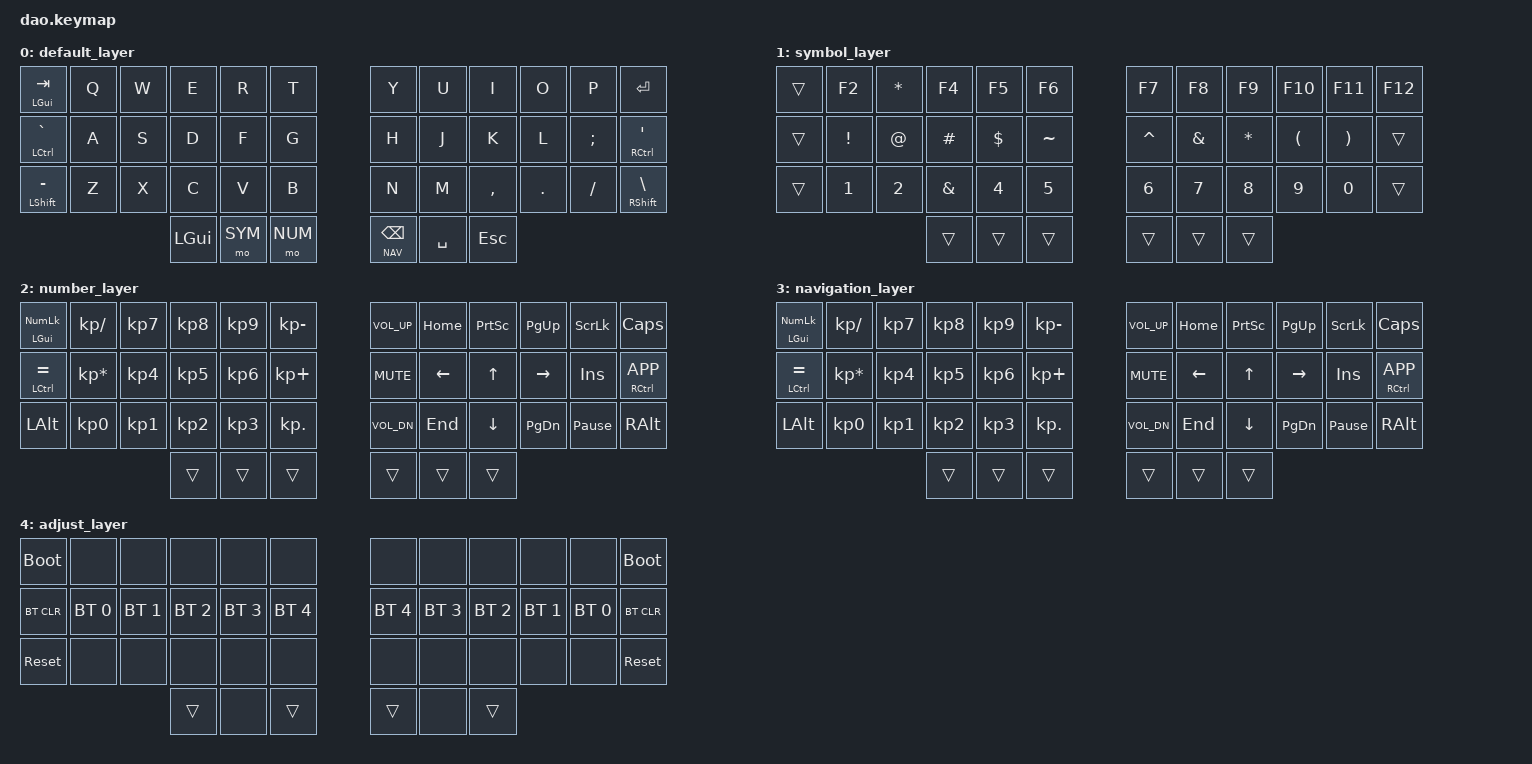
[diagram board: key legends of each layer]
/*
 * Copyright (c) 2021 Rafael Yumagulov
 *
 * SPDX-License-Identifier: MIT
 */

#include <behaviors.dtsi>
#include <dt-bindings/zmk/keys.h>
#include <dt-bindings/zmk/bt.h>

#define DEF 0
#define SYM 1
#define NUM 2
#define NAV 3
#define ADJ 4

&lt { quick_tap_ms = <200>; };
&mt { quick_tap_ms = <200>; };

/ {
    chosen {
        zmk,matrix_transform = &default_transform;
        // zmk,matrix_transform = &extra_keys_transform;
    };
};

/ {
        keymap {
                compatible = "zmk,keymap";

                default_layer {
                        bindings = <
//        ┌─────────────────┬───────┬───────┬──────────┬─────────┬─────────┐   ┌──────────────┬───────────┬───────────┬─────────┬──────────┬────────────────┐
//        │  &mt LGUI TAB   │ &kp Q │ &kp W │  &kp E   │  &kp R  │  &kp T  │   │    &kp Y     │   &kp U   │   &kp I   │  &kp O  │  &kp P   │    &kp RET     │
//        ├─────────────────┼───────┼───────┼──────────┼─────────┼─────────┤   ├──────────────┼───────────┼───────────┼─────────┼──────────┼────────────────┤
//        │ &mt LCTRL GRAVE │ &kp A │ &kp S │  &kp D   │  &kp F  │  &kp G  │   │    &kp H     │   &kp J   │   &kp K   │  &kp L  │ &kp SEMI │ &mt RCTRL SQT  │
//        ├─────────────────┼───────┼───────┼──────────┼─────────┼─────────┤   ├──────────────┼───────────┼───────────┼─────────┼──────────┼────────────────┤
//        │ &mt LSHFT MINUS │ &kp Z │ &kp X │  &kp C   │  &kp V  │  &kp B  │   │    &kp N     │   &kp M   │ &kp COMMA │ &kp DOT │ &kp FSLH │ &mt RSHFT BSLH │
//        └─────────────────┴───────┴───────┼──────────┼─────────┼─────────┤   ├──────────────┼───────────┼───────────┼─────────┴──────────┴────────────────┘
//                                          │ &kp LGUI │ &mo SYM │ &mo NUM │   │ &lt NAV BSPC │ &kp SPACE │  &kp ESC  │                                      
//                                          └──────────┴─────────┴─────────┘   └──────────────┴───────────┴───────────┘                                      
      &mt LGUI TAB      &kp Q   &kp W   &kp E      &kp R     &kp T         &kp Y          &kp U       &kp I       &kp O     &kp P      &kp RET       
      &mt LCTRL GRAVE   &kp A   &kp S   &kp D      &kp F     &kp G         &kp H          &kp J       &kp K       &kp L     &kp SEMI   &mt RCTRL SQT 
      &mt LSHFT MINUS   &kp Z   &kp X   &kp C      &kp V     &kp B         &kp N          &kp M       &kp COMMA   &kp DOT   &kp FSLH   &mt RSHFT BSLH
                                        &kp LGUI   &mo SYM   &mo NUM       &lt NAV BSPC   &kp SPACE   &kp ESC                                        
                        >;
                };

                symbol_layer {
                        bindings = <
//        ┌────────┬──────────┬──────────────┬──────────┬──────────┬───────────┐   ┌───────────┬──────────┬──────────┬──────────┬──────────┬─────────┐
//        │ &trans │  &kp F2  │ &kp ASTERISK │  &kp F4  │  &kp F5  │  &kp F6   │   │  &kp F7   │  &kp F8  │  &kp F9  │ &kp F10  │ &kp F11  │ &kp F12 │
//        ├────────┼──────────┼──────────────┼──────────┼──────────┼───────────┤   ├───────────┼──────────┼──────────┼──────────┼──────────┼─────────┤
//        │ &trans │ &kp EXCL │    &kp AT    │ &kp HASH │ &kp DLLR │ &kp TILDE │   │ &kp CARET │ &kp AMPS │ &kp STAR │ &kp LPAR │ &kp RPAR │ &trans  │
//        ├────────┼──────────┼──────────────┼──────────┼──────────┼───────────┤   ├───────────┼──────────┼──────────┼──────────┼──────────┼─────────┤
//        │ &trans │  &kp N1  │    &kp N2    │ &kp AMPS │  &kp N4  │  &kp N5   │   │  &kp N6   │  &kp N7  │  &kp N8  │  &kp N9  │  &kp N0  │ &trans  │
//        └────────┴──────────┴──────────────┼──────────┼──────────┼───────────┤   ├───────────┼──────────┼──────────┼──────────┴──────────┴─────────┘
//                                           │  &trans  │  &trans  │  &trans   │   │  &trans   │  &trans  │  &trans  │                                
//                                           └──────────┴──────────┴───────────┘   └───────────┴──────────┴──────────┘                                
      &trans   &kp F2     &kp ASTERISK   &kp F4     &kp F5     &kp F6          &kp F7      &kp F8     &kp F9     &kp F10    &kp F11    &kp F12
      &trans   &kp EXCL   &kp AT         &kp HASH   &kp DLLR   &kp TILDE       &kp CARET   &kp AMPS   &kp STAR   &kp LPAR   &kp RPAR   &trans 
      &trans   &kp N1     &kp N2         &kp AMPS   &kp N4     &kp N5          &kp N6      &kp N7     &kp N8     &kp N9     &kp N0     &trans 
                                         &trans     &trans     &trans          &trans      &trans     &trans                                  
                        >;
                };

                number_layer {
                        bindings = <
//        ┌─────────────────┬─────────────────┬───────────┬───────────┬───────────┬──────────────┐   ┌──────────────┬──────────┬───────────┬───────────┬─────────────────┬─────────────────┐
//        │ &mt LGUI KP_NUM │  &kp KP_SLASH   │ &kp KP_N7 │ &kp KP_N8 │ &kp KP_N9 │ &kp KP_MINUS │   │ &kp C_VOL_UP │ &kp HOME │ &kp PSCRN │ &kp PG_UP │    &kp SLCK     │    &kp CLCK     │
//        ├─────────────────┼─────────────────┼───────────┼───────────┼───────────┼──────────────┤   ├──────────────┼──────────┼───────────┼───────────┼─────────────────┼─────────────────┤
//        │ &mt LCTRL EQUAL │ &kp KP_MULTIPLY │ &kp KP_N4 │ &kp KP_N5 │ &kp KP_N6 │ &kp KP_PLUS  │   │  &kp C_MUTE  │ &kp LEFT │  &kp UP   │ &kp RIGHT │     &kp INS     │ &mt RCTRL K_APP │
//        ├─────────────────┼─────────────────┼───────────┼───────────┼───────────┼──────────────┤   ├──────────────┼──────────┼───────────┼───────────┼─────────────────┼─────────────────┤
//        │    &kp LALT     │    &kp KP_N0    │ &kp KP_N1 │ &kp KP_N2 │ &kp KP_N3 │  &kp KP_DOT  │   │ &kp C_VOL_DN │ &kp END  │ &kp DOWN  │ &kp PG_DN │ &kp PAUSE_BREAK │    &kp RALT     │
//        └─────────────────┴─────────────────┴───────────┼───────────┼───────────┼──────────────┤   ├──────────────┼──────────┼───────────┼───────────┴─────────────────┴─────────────────┘
//                                                        │  &trans   │  &trans   │    &trans    │   │    &trans    │  &trans  │  &trans   │                                                
//                                                        └───────────┴───────────┴──────────────┘   └──────────────┴──────────┴───────────┘                                                
      &mt LGUI KP_NUM   &kp KP_SLASH      &kp KP_N7   &kp KP_N8   &kp KP_N9   &kp KP_MINUS       &kp C_VOL_UP   &kp HOME   &kp PSCRN   &kp PG_UP   &kp SLCK          &kp CLCK       
      &mt LCTRL EQUAL   &kp KP_MULTIPLY   &kp KP_N4   &kp KP_N5   &kp KP_N6   &kp KP_PLUS        &kp C_MUTE     &kp LEFT   &kp UP      &kp RIGHT   &kp INS           &mt RCTRL K_APP
      &kp LALT          &kp KP_N0         &kp KP_N1   &kp KP_N2   &kp KP_N3   &kp KP_DOT         &kp C_VOL_DN   &kp END    &kp DOWN    &kp PG_DN   &kp PAUSE_BREAK   &kp RALT       
                                                      &trans      &trans      &trans             &trans         &trans     &trans                                                   
                        >;
                };

                navigation_layer {
                        bindings = <
//        ┌─────────────────┬─────────────────┬───────────┬───────────┬───────────┬──────────────┐   ┌──────────────┬──────────┬───────────┬───────────┬─────────────────┬─────────────────┐
//        │ &mt LGUI KP_NUM │  &kp KP_SLASH   │ &kp KP_N7 │ &kp KP_N8 │ &kp KP_N9 │ &kp KP_MINUS │   │ &kp C_VOL_UP │ &kp HOME │ &kp PSCRN │ &kp PG_UP │    &kp SLCK     │    &kp CLCK     │
//        ├─────────────────┼─────────────────┼───────────┼───────────┼───────────┼──────────────┤   ├──────────────┼──────────┼───────────┼───────────┼─────────────────┼─────────────────┤
//        │ &mt LCTRL EQUAL │ &kp KP_MULTIPLY │ &kp KP_N4 │ &kp KP_N5 │ &kp KP_N6 │ &kp KP_PLUS  │   │  &kp C_MUTE  │ &kp LEFT │  &kp UP   │ &kp RIGHT │     &kp INS     │ &mt RCTRL K_APP │
//        ├─────────────────┼─────────────────┼───────────┼───────────┼───────────┼──────────────┤   ├──────────────┼──────────┼───────────┼───────────┼─────────────────┼─────────────────┤
//        │    &kp LALT     │    &kp KP_N0    │ &kp KP_N1 │ &kp KP_N2 │ &kp KP_N3 │  &kp KP_DOT  │   │ &kp C_VOL_DN │ &kp END  │ &kp DOWN  │ &kp PG_DN │ &kp PAUSE_BREAK │    &kp RALT     │
//        └─────────────────┴─────────────────┴───────────┼───────────┼───────────┼──────────────┤   ├──────────────┼──────────┼───────────┼───────────┴─────────────────┴─────────────────┘
//                                                        │  &trans   │  &trans   │    &trans    │   │    &trans    │  &trans  │  &trans   │                                                
//                                                        └───────────┴───────────┴──────────────┘   └──────────────┴──────────┴───────────┘                                                
      &mt LGUI KP_NUM   &kp KP_SLASH      &kp KP_N7   &kp KP_N8   &kp KP_N9   &kp KP_MINUS       &kp C_VOL_UP   &kp HOME   &kp PSCRN   &kp PG_UP   &kp SLCK          &kp CLCK       
      &mt LCTRL EQUAL   &kp KP_MULTIPLY   &kp KP_N4   &kp KP_N5   &kp KP_N6   &kp KP_PLUS        &kp C_MUTE     &kp LEFT   &kp UP      &kp RIGHT   &kp INS           &mt RCTRL K_APP
      &kp LALT          &kp KP_N0         &kp KP_N1   &kp KP_N2   &kp KP_N3   &kp KP_DOT         &kp C_VOL_DN   &kp END    &kp DOWN    &kp PG_DN   &kp PAUSE_BREAK   &kp RALT       
                                                      &trans      &trans      &trans             &trans         &trans     &trans                                                   
                        >;
                };

                adjust_layer {
                        bindings = <
//        ┌─────────────┬──────────────┬──────────────┬──────────────┬──────────────┬──────────────┐   ┌──────────────┬──────────────┬──────────────┬──────────────┬──────────────┬─────────────┐
//        │ &bootloader │    &none     │    &none     │    &none     │    &none     │    &none     │   │    &none     │    &none     │    &none     │    &none     │    &none     │ &bootloader │
//        ├─────────────┼──────────────┼──────────────┼──────────────┼──────────────┼──────────────┤   ├──────────────┼──────────────┼──────────────┼──────────────┼──────────────┼─────────────┤
//        │ &bt BT_CLR  │ &bt BT_SEL 0 │ &bt BT_SEL 1 │ &bt BT_SEL 2 │ &bt BT_SEL 3 │ &bt BT_SEL 4 │   │ &bt BT_SEL 4 │ &bt BT_SEL 3 │ &bt BT_SEL 2 │ &bt BT_SEL 1 │ &bt BT_SEL 0 │ &bt BT_CLR  │
//        ├─────────────┼──────────────┼──────────────┼──────────────┼──────────────┼──────────────┤   ├──────────────┼──────────────┼──────────────┼──────────────┼──────────────┼─────────────┤
//        │ &sys_reset  │    &none     │    &none     │    &none     │    &none     │    &none     │   │    &none     │    &none     │    &none     │    &none     │    &none     │ &sys_reset  │
//        └─────────────┴──────────────┴──────────────┼──────────────┼──────────────┼──────────────┤   ├──────────────┼──────────────┼──────────────┼──────────────┴──────────────┴─────────────┘
//                                                    │    &trans    │    &none     │    &trans    │   │    &trans    │    &none     │    &trans    │                                            
//                                                    └──────────────┴──────────────┴──────────────┘   └──────────────┴──────────────┴──────────────┘                                            
      &bootloader   &none          &none          &none          &none          &none              &none          &none          &none          &none          &none          &bootloader
      &bt BT_CLR    &bt BT_SEL 0   &bt BT_SEL 1   &bt BT_SEL 2   &bt BT_SEL 3   &bt BT_SEL 4       &bt BT_SEL 4   &bt BT_SEL 3   &bt BT_SEL 2   &bt BT_SEL 1   &bt BT_SEL 0   &bt BT_CLR 
      &sys_reset    &none          &none          &none          &none          &none              &none          &none          &none          &none          &none          &sys_reset 
                                                  &trans         &none          &trans             &trans         &none          &trans                                                  
                        >;
                };
        };
};
